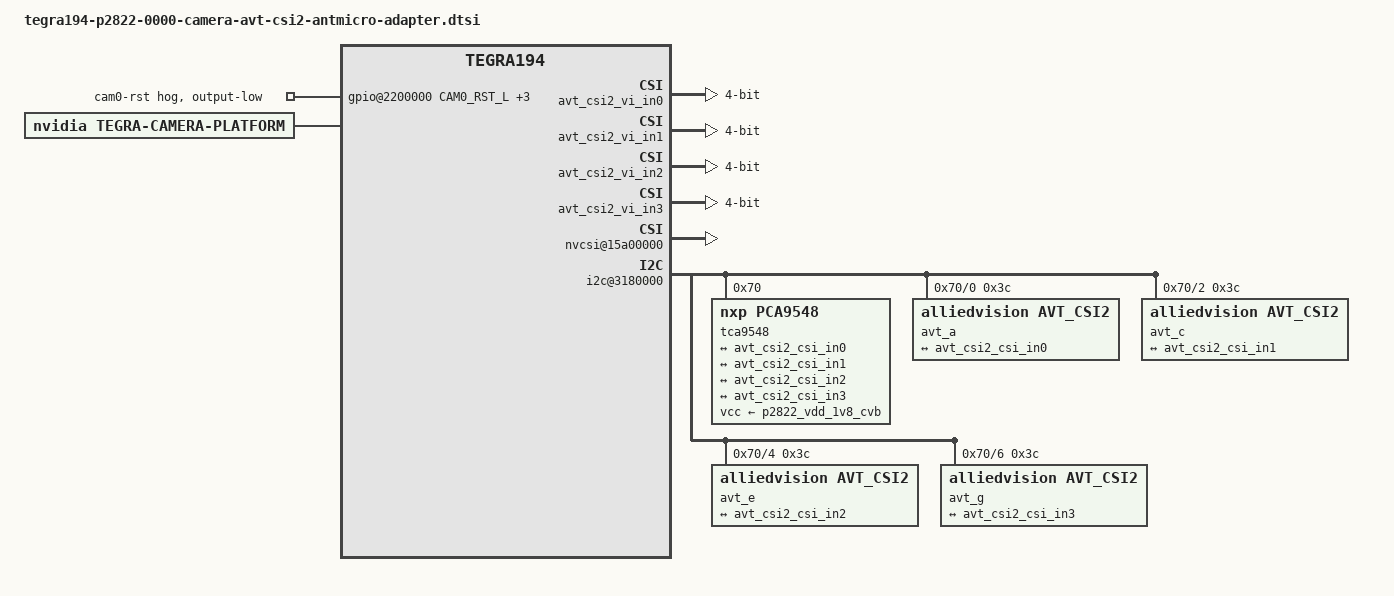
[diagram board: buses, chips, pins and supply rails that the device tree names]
/*
 * Copyright (c) 2015-2018, NVIDIA CORPORATION.  All rights reserved.
 *
 * This program is free software; you can redistribute it and/or modify
 * it under the terms of the GNU General Public License as published by
 * the Free Software Foundation; either version 2 of the License, or
 * (at your option) any later version.
 *
 * This program is distributed in the hope that it will be useful, but WITHOUT
 * ANY WARRANTY; without even the implied warranty of MERCHANTABILITY or
 * FITNESS FOR A PARTICULAR PURPOSE.  See the GNU General Public License for
 * more details.
 *
 * You should have received a copy of the GNU General Public License
 * along with this program.  If not, see <http://www.gnu.org/licenses/>.
 */
#include "dt-bindings/clock/tegra194-clock.h"

#define CAM0_RST_L	TEGRA194_MAIN_GPIO(H, 3)
#define CAM0_PWDN	TEGRA194_MAIN_GPIO(H, 6)
#define CAM1_RST_L	TEGRA194_MAIN_GPIO(T, 6)
#define CAM1_PWDN	TEGRA194_MAIN_GPIO(T, 5)
#define CAMERA_I2C_MUX_BUS(x) (0x1E + x)

/ {
	gpio@2200000 {
		camera-control-output-low {
			gpio-hog;
			output-low;
			gpios = <CAM0_RST_L 0 CAM0_PWDN 0
				 CAM1_RST_L 0 CAM1_PWDN 0>;
			label = "cam0-rst", "cam0-pwdn",
				"cam1-rst", "cam1-pwdn";
		};
	};

	host1x {
		vi@15c10000 {
			status = "okay";
			num-channels = <4>;
			ports {
				#address-cells = <1>;
				#size-cells = <0>;
				port@0 {
					status ="okay";
					reg = <0>;
					avt_csi2_vi_in0: endpoint {
						status = "okay";
						port-index = <0>;
						bus-width = <4>;
						remote-endpoint = <&avt_csi2_csi_out0>;
					};
				};
				port@1 {
					status ="okay";
					reg = <1>;
					avt_csi2_vi_in1: endpoint {
						status = "okay";
						port-index = <2>;
						bus-width = <4>;
						remote-endpoint = <&avt_csi2_csi_out1>;
					};
				};
				port@2 {
					status ="okay";
					reg = <2>;
					avt_csi2_vi_in2: endpoint {
						status = "okay";
						port-index = <4>;
						bus-width = <4>;
						remote-endpoint = <&avt_csi2_csi_out2>;
					};
				};
				port@3 {
					status ="okay";
					reg = <3>;
					avt_csi2_vi_in3: endpoint {
						status = "okay";
						port-index = <5>;
						bus-width = <4>;
						remote-endpoint = <&avt_csi2_csi_out3>;
					};
				};

			};
		};

		nvcsi@15a00000 {
			status = "okay";
			num-channels = <4>;
			#address-cells = <1>;
			#size-cells = <0>;
			channel@0 {
				status = "okay";
				reg = <0>;
				ports {
					#address-cells = <1>;
					#size-cells = <0>;
					port@0 {
						status = "okay";
						reg = <0>;
						avt_csi2_csi_in0: endpoint@0 {
							status = "okay";
							port-index = <0>;
							bus-width = <4>;
							remote-endpoint = <&avt_csi2_out0>;
						};
					};
					port@1 {
						status = "okay";
						reg = <1>;
						avt_csi2_csi_out0: endpoint@1 {
							status = "okay";
							remote-endpoint = <&avt_csi2_vi_in0>;
						};
					};
				};
			};
			channel@1 {
				status = "okay";
				reg = <1>;
				ports {
					#address-cells = <1>;
					#size-cells = <0>;
					port@0 {
						status = "okay";
						reg = <0>;
						avt_csi2_csi_in1: endpoint@0 {
							status = "okay";
							port-index = <2>;
							bus-width = <4>;
							remote-endpoint = <&avt_csi2_out1>;
						};
					};
					port@1 {
						status = "okay";
						reg = <1>;
						avt_csi2_csi_out1: endpoint@1 {
							status = "okay";
							remote-endpoint = <&avt_csi2_vi_in1>;
						};
					};
				};
			};
			channel@2 {
				status = "okay";
				reg = <2>;
				ports {
					#address-cells = <1>;
					#size-cells = <0>;
					port@0 {
						status = "okay";
						reg = <0>;
						avt_csi2_csi_in2: endpoint@0 {
							status = "okay";
							port-index = <4>;
							bus-width = <4>;
							remote-endpoint = <&avt_csi2_out2>;
						};
					};
					port@1 {
						status = "okay";
						reg = <1>;
						avt_csi2_csi_out2: endpoint@1 {
							status = "okay";
							remote-endpoint = <&avt_csi2_vi_in2>;
						};
					};
				};
			};
			channel@3 {
				status = "okay";
				reg = <3>;
				ports {
					#address-cells = <1>;
					#size-cells = <0>;
					port@0 {
						status = "okay";
						reg = <0>;
						avt_csi2_csi_in3: endpoint@0 {
							status = "okay";
							port-index = <6>;
							bus-width = <4>;
							remote-endpoint = <&avt_csi2_out3>;
						};
					};
					port@1 {
						status = "okay";
						reg = <1>;
						avt_csi2_csi_out3: endpoint@1 {
							status = "okay";
							remote-endpoint = <&avt_csi2_vi_in3>;
						};
					};
				};
			};
		};
	};

	tegra-camera-platform {
		compatible = "nvidia, tegra-camera-platform";
		status = "okay";
		/**
		* Physical settings to calculate max ISO BW
		*
		* num_csi_lanes = <>;
		* Total number of CSI lanes when all cameras are active
		*
		* max_lane_speed = <>;
		* Max lane speed in Kbit/s
		*
		* min_bits_per_pixel = <>;
		* Min bits per pixel
		*
		* vi_peak_byte_per_pixel = <>;
		* Max byte per pixel for the VI ISO case
		*
		* vi_bw_margin_pct = <>;
		* Vi bandwidth margin in percentage
		*
		* max_pixel_rate = <>;
		* Max pixel rate in Kpixel/s for the ISP ISO case
		*
		* isp_peak_byte_per_pixel = <>;
		* Max byte per pixel for the ISP ISO case
		*
		* isp_bw_margin_pct = <>;
		* Isp bandwidth margin in percentage
		*/
		num_csi_lanes = <16>;
		max_lane_speed = <1500000>;
		min_bits_per_pixel = <10>;
		vi_peak_byte_per_pixel = <2>;
		vi_bw_margin_pct = <25>;
		max_pixel_rate = <160000>;
		isp_peak_byte_per_pixel = <5>;
		isp_bw_margin_pct = <25>;

		/**
		* The general guideline for naming badge_info contains 3 parts, and is as follows,
		* The first part is the camera_board_id for the module; if the module is in a FFD
		* platform, then use the platform name for this part.
		* The second part contains the position of the module, ex. “rear” or “front”.
		* The third part contains the last 6 characters of a part number which is found
		* in the module's specsheet from the vender.
		*/
		modules {
			status = "okay";
			module0 {
				status = "okay";
				badge = "avt_csi2_front";
				position = "front";
				orientation = "1";
				drivernode0 {
					status = "okay";
					/* Declare PCL support driver (classically known as guid)  */
					pcl_id = "v4l2_sensor";
					/* Driver v4l2 device name */
					devname = "avt_csi2 30-003c";
					/* Declare the device-tree hierarchy to driver instance */
					proc-device-tree = "/proc/device-tree/i2c@3180000/tca9548@70/i2c@0/avt_a@3c";
				};
			};
			module1 {
				status = "okay";
				badge = "avt_csi2_back";
				position = "back";
				orientation = "1";
				drivernode0 {
					status = "okay";
					/* Declare PCL support driver (classically known as guid)  */
					pcl_id = "v4l2_sensor";
					/* Driver v4l2 device name */
					devname = "avt_csi2 32-003c";
					/* Declare the device-tree hierarchy to driver instance */
					proc-device-tree = "/proc/device-tree/i2c@3180000/tca9548@70/i2c@2/avt_c@3c";
				};
			};
			module2 {
				status = "okay";
				badge = "avt_csi2_left";
				position = "left";
				orientation = "1";
				drivernode0 {
					status = "okay";
					/* Declare PCL support driver (classically known as guid)  */
					pcl_id = "v4l2_sensor";
					/* Driver v4l2 device name */
					devname = "avt_csi2 34-003c";
					/* Declare the device-tree hierarchy to driver instance */
					proc-device-tree = "/proc/device-tree/i2c@3180000/tca9548@70/i2c@4/avt_e@3c";
				};
			};
			module3 {
				status = "okay";
				badge = "avt_csi2_right";
				position = "right";
				orientation = "1";
				drivernode0 {
					status = "okay";
					/* Declare PCL support driver (classically known as guid)  */
					pcl_id = "v4l2_sensor";
					/* Driver v4l2 device name */
					devname = "avt_csi2 36-003c";
					/* Declare the device-tree hierarchy to driver instance */
					proc-device-tree = "/proc/device-tree/i2c@3180000/tca9548@70/i2c@6/avt_g@3c";
				};
			};
		};
	};

	i2c@3180000 {
		tca9548: tca9548@70 {
			compatible = "nxp,pca9548";
			reg = <0x70>;
			#address-cells = <1>;
			#size-cells = <0>;
			vcc-supply = <&p2822_vdd_1v8_cvb>;
			force_bus_start = <CAMERA_I2C_MUX_BUS(0)>;

			i2c@0 {
				reg = <0>;
				i2c-mux,deselect-on-exit;
				#address-cells = <1>;
				#size-cells = <0>;
                avt_a@3c {
                    status = "okay";
                    clocks = <&bpmp_clks TEGRA194_CLK_EXTPERIPH1>,
                         <&bpmp_clks TEGRA194_CLK_PLLP_OUT0>;
                    clock-names = "extperiph1", "pllp_grtba";
                    mclk = "extperiph1";

                    devnode = "video0";
                    compatible = "alliedvision,avt_csi2";
                    reg = <0x3c>;

                    ports {
                        #address-cells = <1>;
                        #size-cells = <0>;

                        port@0 {
                            reg = <0>;
                            avt_csi2_out0: endpoint {
                                port-index = <0>;
                                bus-width = <4>;
                                remote-endpoint = <&avt_csi2_csi_in0>;
                            };
                        };
                    };

                    mode0 {
                        num_lanes = "4";
                        tegra_sinterface = "serial_a";
                        discontinuous_clk = "no";
                        cil_settletime = "0";
                        embedded_metadata_height = "0";

                        /* not verified: */
                        mclk_khz = "24000";
                        phy_mode = "DPHY";
                        dpcm_enable = "false";

                        active_w = "5488";
                        active_h = "4112";
                        pixel_t = "bayer_bggr";
                        readout_orientation = "0";
                        line_length = "5488";
                        inherent_gain = "1";
                        mclk_multiplier = "31.25";
                        pix_clk_hz = "750000000";

                        gain_factor = "16";
                        framerate_factor = "1000000";
                        exposure_factor = "1000000";
                        min_gain_val = "16"; /* 1.0 */
                        max_gain_val = "256"; /* 16.0 */
                        step_gain_val = "1"; /* 0.125 */
                        min_hdr_ratio = "1";
                        max_hdr_ratio = "64";
                        min_framerate = "1500000"; /* 1.5 */
                        max_framerate = "30000000"; /* 30 */
                        step_framerate = "1";
                        min_exp_time = "34"; /* us */
                        max_exp_time = "550385"; /* us */
                        step_exp_time = "1";
                    };
                };
			};
			i2c@1 {
				reg = <1>;
				i2c-mux,deselect-on-exit;
				#address-cells = <1>;
				#size-cells = <0>;
			};
			i2c@2 {
				reg = <2>;
				i2c-mux,deselect-on-exit;
				#address-cells = <1>;
				#size-cells = <0>;
                avt_c@3c {
                    status = "okay";
                    clocks = <&bpmp_clks TEGRA194_CLK_EXTPERIPH1>,
                         <&bpmp_clks TEGRA194_CLK_PLLP_OUT0>;
                    clock-names = "extperiph1", "pllp_grtba";
                    mclk = "extperiph1";

                    devnode = "video1";
                    compatible = "alliedvision,avt_csi2";
                    reg = <0x3c>;

                    ports {
                        #address-cells = <1>;
                        #size-cells = <0>;

                        port@0 {
                            reg = <0>;
                            avt_csi2_out1: endpoint {
                                port-index = <2>;
                                bus-width = <4>;
                                remote-endpoint = <&avt_csi2_csi_in1>;
                            };
                        };
                    };

                    mode0 {
                        num_lanes = "4";
                        tegra_sinterface = "serial_c";
                        discontinuous_clk = "no";
                        cil_settletime = "0";
                        embedded_metadata_height = "0";

                        /* not verified: */
                        mclk_khz = "24000";
                        phy_mode = "DPHY";
                        dpcm_enable = "false";

                        active_w = "5488";
                        active_h = "4112";
                        pixel_t = "bayer_bggr";
                        readout_orientation = "0";
                        line_length = "5488";
                        inherent_gain = "1";
                        mclk_multiplier = "31.25";
                        pix_clk_hz = "750000000";

                        gain_factor = "16";
                        framerate_factor = "1000000";
                        exposure_factor = "1000000";
                        min_gain_val = "16"; /* 1.0 */
                        max_gain_val = "256"; /* 16.0 */
                        step_gain_val = "1"; /* 0.125 */
                        min_hdr_ratio = "1";
                        max_hdr_ratio = "64";
                        min_framerate = "1500000"; /* 1.5 */
                        max_framerate = "30000000"; /* 30 */
                        step_framerate = "1";
                        min_exp_time = "34"; /* us */
                        max_exp_time = "550385"; /* us */
                        step_exp_time = "1";
                    };
                };
			};
			i2c@3 {
				reg = <3>;
				i2c-mux,deselect-on-exit;
				#address-cells = <1>;
				#size-cells = <0>;
			};
			i2c@4 {
				reg = <4>;
				i2c-mux,deselect-on-exit;
				#address-cells = <1>;
				#size-cells = <0>;
                avt_e@3c {
                    status = "okay";
                    clocks = <&bpmp_clks TEGRA194_CLK_EXTPERIPH1>,
                         <&bpmp_clks TEGRA194_CLK_PLLP_OUT0>;
                    clock-names = "extperiph1", "pllp_grtba";
                    mclk = "extperiph1";

                    devnode = "video2";
                    compatible = "alliedvision,avt_csi2";
                    reg = <0x3c>;

                    ports {
                        #address-cells = <1>;
                        #size-cells = <0>;

                        port@0 {
                            reg = <0>;
                            avt_csi2_out2: endpoint {
                                port-index = <4>;
                                bus-width = <4>;
                                remote-endpoint = <&avt_csi2_csi_in2>;
                            };
                        };
                    };

                    mode0 {
                        num_lanes = "4";
                        tegra_sinterface = "serial_e";
                        discontinuous_clk = "no";
                        cil_settletime = "0";
                        embedded_metadata_height = "0";

                        /* not verified: */
                        mclk_khz = "24000";
                        phy_mode = "DPHY";
                        dpcm_enable = "false";

                        active_w = "5488";
                        active_h = "4112";
                        pixel_t = "bayer_bggr";
                        readout_orientation = "0";
                        line_length = "5488";
                        inherent_gain = "1";
                        mclk_multiplier = "31.25";
                        pix_clk_hz = "750000000";

                        gain_factor = "16";
                        framerate_factor = "1000000";
                        exposure_factor = "1000000";
                        min_gain_val = "16"; /* 1.0 */
                        max_gain_val = "256"; /* 16.0 */
                        step_gain_val = "1"; /* 0.125 */
                        min_hdr_ratio = "1";
                        max_hdr_ratio = "64";
                        min_framerate = "1500000"; /* 1.5 */
                        max_framerate = "30000000"; /* 30 */
                        step_framerate = "1";
                        min_exp_time = "34"; /* us */
                        max_exp_time = "550385"; /* us */
                        step_exp_time = "1";
                    };
                };
			};
			i2c@5 {
				reg = <5>;
				i2c-mux,deselect-on-exit;
				#address-cells = <1>;
				#size-cells = <0>;
			};
			i2c@6 {
				reg = <6>;
				i2c-mux,deselect-on-exit;
				#address-cells = <1>;
				#size-cells = <0>;
                avt_g@3c {
                    status = "okay";
                    clocks = <&bpmp_clks TEGRA194_CLK_EXTPERIPH1>,
                         <&bpmp_clks TEGRA194_CLK_PLLP_OUT0>;
                    clock-names = "extperiph1", "pllp_grtba";
                    mclk = "extperiph1";

                    devnode = "video3";
                    compatible = "alliedvision,avt_csi2";
                    reg = <0x3c>;

                    ports {
                        #address-cells = <1>;
                        #size-cells = <0>;

                        port@0 {
                            reg = <0>;
                            avt_csi2_out3: endpoint {
                                port-index = <6>;
                                bus-width = <4>;
                                remote-endpoint = <&avt_csi2_csi_in3>;
                            };
                        };
                    };

                    mode0 {
                        num_lanes = "4";
                        tegra_sinterface = "serial_g";
                        discontinuous_clk = "no";
                        cil_settletime = "0";
                        embedded_metadata_height = "0";

                        /* not verified: */
                        mclk_khz = "24000";
                        phy_mode = "DPHY";
                        dpcm_enable = "false";

                        active_w = "5488";
                        active_h = "4112";
                        pixel_t = "bayer_bggr";
                        readout_orientation = "0";
                        line_length = "5488";
                        inherent_gain = "1";
                        mclk_multiplier = "31.25";
                        pix_clk_hz = "750000000";

                        gain_factor = "16";
                        framerate_factor = "1000000";
                        exposure_factor = "1000000";
                        min_gain_val = "16"; /* 1.0 */
                        max_gain_val = "256"; /* 16.0 */
                        step_gain_val = "1"; /* 0.125 */
                        min_hdr_ratio = "1";
                        max_hdr_ratio = "64";
                        min_framerate = "1500000"; /* 1.5 */
                        max_framerate = "30000000"; /* 30 */
                        step_framerate = "1";
                        min_exp_time = "34"; /* us */
                        max_exp_time = "550385"; /* us */
                        step_exp_time = "1";
                    };
                };
			};
			i2c@7 {
				reg = <7>;
				i2c-mux,deselect-on-exit;
				#address-cells = <1>;
				#size-cells = <0>;
			};
		};
	};
};
